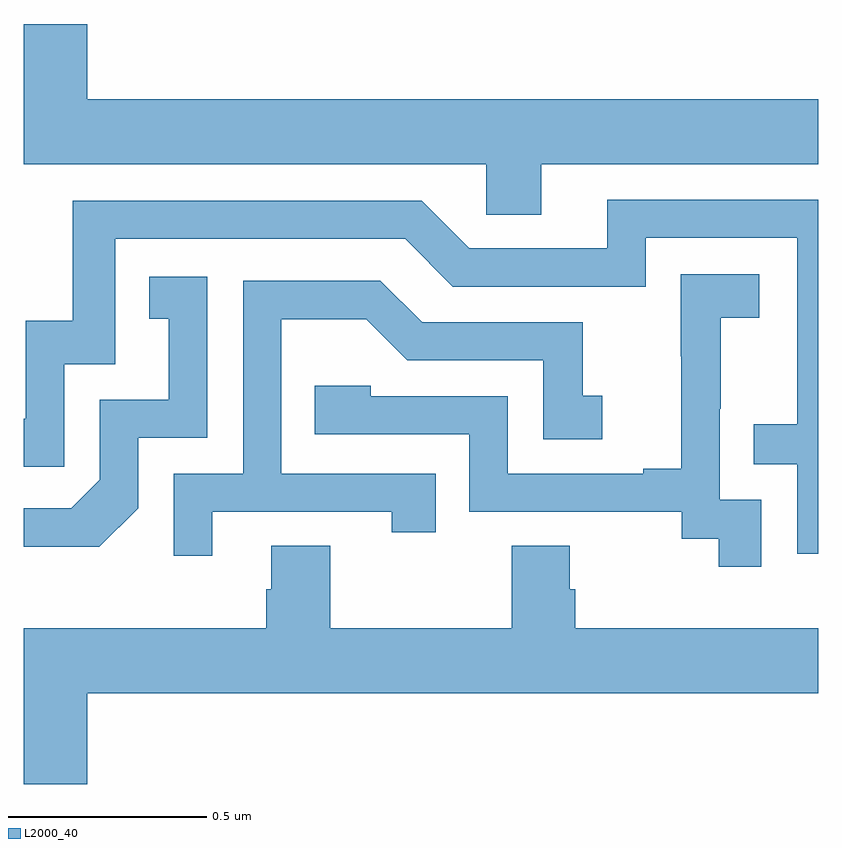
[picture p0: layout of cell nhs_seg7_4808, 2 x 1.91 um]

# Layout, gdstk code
import gdstk
lib = gdstk.Library(unit=1e-6, precision=1e-09)
def P(c, l, *ps):  # polygons
    for p in ps: c.add(gdstk.Polygon(p, *l))
L2000_40 = (2000, 40)

nhs_seg7_4808 = lib.new_cell('nhs_seg7_4808')
P(nhs_seg7_4808, L2000_40, [(178.303,1056.56),(179,1056.56),(179,1056.724),(177.16,1056.724),(177.16,1056.913),(177,1056.913),(177,1056.56),(178.164,1056.56),(178.164,1056.433),(178.303,1056.433)],
  [(179,1056.471),(178.469,1056.471),(178.469,1056.348),(178.122,1056.348),(178.002,1056.468),(177.123,1056.468),(177.123,1056.166),(177.005,1056.166),(177.005,1055.919),(177,1055.919),(177,1055.799),(177.102,1055.799),(177.102,1056.057),(177.231,1056.057),(177.231,1056.372),(177.96,1056.372),(178.08,1056.252),(178.566,1056.252),(178.566,1056.375),(178.947,1056.375),(178.947,1055.906),(178.837,1055.906),(178.837,1055.805),(178.947,1055.805),(178.947,1055.58),(179,1055.58)],
  [(178.857,1055.715),(178.752,1055.715),(178.752,1055.945),(178.754,1055.945),(178.754,1056.173),(178.852,1056.173),(178.852,1056.283),(178.654,1056.283),(178.654,1056.077),(178.655,1056.077),(178.655,1055.794),(178.559,1055.794),(178.559,1055.781),(178.218,1055.781),(178.218,1055.976),(177.873,1055.976),(177.873,1056.003),(177.733,1056.003),(177.733,1055.88),(178.122,1055.88),(178.122,1055.685),(178.656,1055.685),(178.656,1055.617),(178.749,1055.617),(178.749,1055.547),(178.857,1055.547)],
  [(177.288,1055.694),(177.288,1055.871),(177.462,1055.871),(177.462,1056.277),(177.316,1056.277),(177.316,1056.171),(177.365,1056.171),(177.365,1055.967),(177.192,1055.967),(177.192,1055.766),(177.12,1055.694),(177,1055.694),(177,1055.597),(177.19,1055.597)],
  [(177.475,1055.685),(177.926,1055.685),(177.926,1055.634),(178.037,1055.634),(178.037,1055.781),(177.648,1055.781),(177.648,1056.17),(177.862,1056.17),(177.966,1056.066),(178.308,1056.066),(178.308,1055.868),(178.456,1055.868),(178.456,1055.977),(178.407,1055.977),(178.407,1056.162),(178.003,1056.162),(177.898,1056.267),(177.552,1056.267),(177.552,1055.781),(177.378,1055.781),(177.378,1055.574),(177.475,1055.574)],
  [(177.16,1055.228),(179,1055.228),(179,1055.392),(178.388,1055.392),(178.388,1055.49),(178.375,1055.49),(178.375,1055.6),(178.228,1055.6),(178.228,1055.392),(177.771,1055.392),(177.771,1055.6),(177.623,1055.6),(177.623,1055.49),(177.611,1055.49),(177.611,1055.392),(177,1055.392),(177,1055),(177.16,1055)])

lib.write_gds('nhs_seg7_4808.gds')
